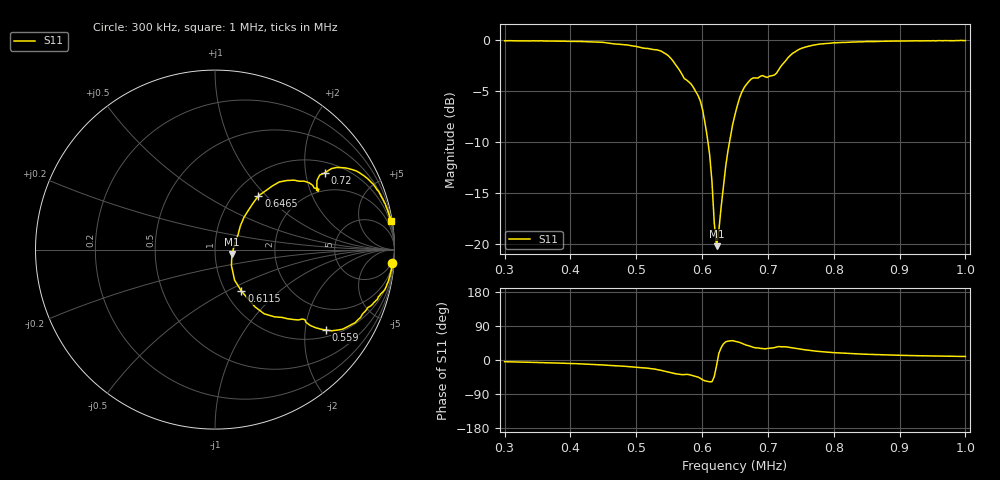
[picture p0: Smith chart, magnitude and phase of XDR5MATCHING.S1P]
!Agilent Technologies,E5071C,MY46100305,A.07.02
!Date: Fri Jan 01 00:16:22 1988
!Data & Calibration Information:
!Freq	S11:SOLT1(ON)
# Hz S MA R 50
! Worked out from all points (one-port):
!   201 points, 300 kHz to 1 MHz, reference 50 ohm
!   lowest |S11| = -20.2 dB at 622 kHz (marker M1), VSWR 1.22, Z = 60.4 - j2.96 ohm
!   |S11| at or under -10 dB: 608.9 kHz to 641.7 kHz (32.85 kHz wide, 5.25 % of centre)
!   S11 on the Smith chart (normalised r, x): 300 kHz: 3, -25; 559 kHz: 1.21, -2.58; 611.5 kHz: 1.19, -0.59; 646.5 kHz: 1.28, +0.90; 720 kHz: 1.34, +2.56; 1 MHz: 1, +12
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300000  0.9901 -4.4
387500  0.9854 -8.4
475000  0.9511 -15.7
531000  0.8949 -25.0
545000  0.8536 -30.2
559000  0.7619 -36.0
562500  0.7356 -37.0
573000  0.6468 -38.6
583500  0.6073 -40.2
597500  0.5005 -48.5
604500  0.3902 -55.0
611500  0.2738 -57.5
615000  0.2022 -57.4
618500  0.1268 -43.8
622000  0.09755 -14.4
636000  0.2418 48.1
646500  0.3856 51.1
650000  0.4307 49.3
660500  0.5559 43.8
678000  0.6514 33.3
695500  0.6606 29.5
713000  0.6867 34.2
720000  0.7445 34.9
737500  0.8593 31.9
772500  0.9466 23.4
825000  0.9743 17.0
912500  0.9885 11.9
1000000  0.9921 9.3
